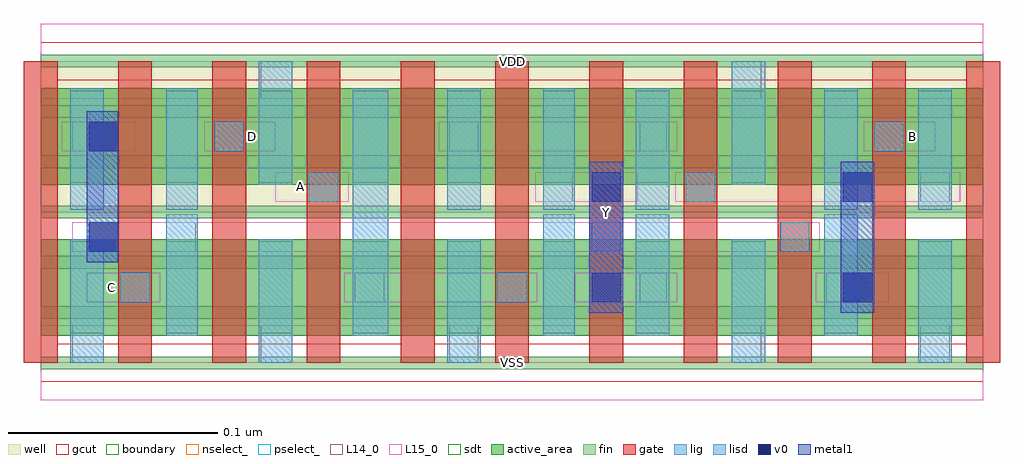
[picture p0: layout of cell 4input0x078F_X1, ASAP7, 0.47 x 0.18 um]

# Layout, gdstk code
import gdstk
lib = gdstk.Library(unit=1e-6, precision=1e-09)
def R(c, l, rs):  # rectangles x0, y0, x1, y1
    for r in rs: c.add(gdstk.rectangle(r[:2], r[2:], *l))
def A(c, l, x, y, w, h, nx, ny, dx, dy):  # array of equal rectangles
    R(c, l, [(x+i*dx, y+j*dy, x+i*dx+w, y+j*dy+h) for i in range(nx) for j in range(ny)])
def P(c, l, *ps):  # polygons
    for p in ps: c.add(gdstk.Polygon(p, *l))
well = (1, 0)
fin = (2, 0)
gate = (7, 0)
gcut = (10, 0)
active_area = (11, 0)
nselect_ = (12, 0)
pselect_ = (13, 0)
L14_0 = (14, 0)
L15_0 = (15, 0)
lig = (16, 0)
lisd = (17, 0)
v0 = (18, 0)
metal1 = (19, 0)
sdt = (88, 0)
boundary = (100, 0)

c_4input0x078f_x1 = lib.new_cell('4input0x078F_X1')
R(c_4input0x078f_x1, well, [(0,0.072,0.45,0.144)])
A(c_4input0x078f_x1, fin, 0, -0.003, 0.45, 0.006, 1, 7, 0, 0.024)
A(c_4input0x078f_x1, gate, -0.008, 0, 0.016, 0.144, 11, 1, 0.045, 0)
P(c_4input0x078f_x1, gcut, [(0,-0.009),(0,0),(-0.008,0),(-0.008,0.135),(0.008,0.135),(0.008,0.009),(0.172,0.009),(0.172,0.135),(0.188,0.135),(0.188,0.009),(0.442,0.009),(0.442,0.135),(-0.008,0.135),(-0.008,0.144),(0,0.144),(0,0.153),(0.45,0.153),(0.45,0.144),(0.458,0.144),(0.458,0),(0.45,0),(0.45,-0.009)])
R(c_4input0x078f_x1, active_area, [(0,0.013,0.45,0.059), (0,0.085,0.45,0.131)])
R(c_4input0x078f_x1, nselect_, [(0,0,0.45,0.072)])
R(c_4input0x078f_x1, pselect_, [(0,0.072,0.45,0.144)])
R(c_4input0x078f_x1, L14_0, [(0.015,0,0.03,0.018), (0.105,0,0.12,0.018), (0.195,0,0.209,0.018), (0.33,0,0.344,0.018), (0.42,0,0.434,0.018), (0.038,0.029,0.052,0.043), (0.15,0.029,0.164,0.043), (0.218,0.029,0.232,0.043), (0.286,0.029,0.299,0.043), (0.375,0.029,0.389,0.043), (0.06,0.053,0.074,0.067), (0.263,0.053,0.277,0.067), (0.353,0.053,0.367,0.067), (0.128,0.077,0.142,0.091), (0.24,0.077,0.254,0.091), (0.308,0.077,0.322,0.091), (0.42,0.077,0.434,0.091), (0.015,0.101,0.03,0.115), (0.083,0.101,0.097,0.115), (0.195,0.101,0.209,0.115), (0.286,0.101,0.299,0.115), (0.398,0.101,0.412,0.115), (0.105,0.126,0.12,0.144), (0.33,0.126,0.344,0.144)])
R(c_4input0x078f_x1, L15_0, [(0,-0.018,0.45,0.018), (0.022,0.029,0.057,0.043), (0.145,0.029,0.237,0.043), (0.255,0.029,0.304,0.043), (0.37,0.029,0.405,0.043), (0.015,0.053,0.372,0.067), (0.112,0.077,0.147,0.091), (0.236,0.077,0.285,0.091), (0.303,0.077,0.439,0.091), (0.01,0.101,0.045,0.115), (0.078,0.101,0.112,0.115), (0.19,0.101,0.304,0.115), (0.393,0.101,0.427,0.115), (0,0.126,0.45,0.162)])
R(c_4input0x078f_x1, lig, [(0.038,0.029,0.052,0.043), (0.218,0.029,0.232,0.043), (0.263,0.053,0.277,0.067), (0.353,0.053,0.367,0.067), (0.128,0.077,0.142,0.091), (0.308,0.077,0.322,0.091), (0.083,0.101,0.097,0.115), (0.398,0.101,0.412,0.115)])
A(c_4input0x078f_x1, lisd, 0.014, 0, 0.016, 0.059, 3, 1, 0.09, 0)
A(c_4input0x078f_x1, lisd, 0.194, 0.073, 0.016, 0.058, 3, 1, 0.09, 0)
R(c_4input0x078f_x1, lisd, [(0.33,0,0.346,0.059), (0.419,0,0.435,0.059), (0.06,0.013,0.075,0.071), (0.149,0.013,0.166,0.131), (0.24,0.013,0.255,0.071), (0.284,0.013,0.3,0.071), (0.374,0.013,0.39,0.071), (0.014,0.073,0.03,0.131), (0.06,0.073,0.075,0.131), (0.24,0.073,0.255,0.131), (0.419,0.073,0.435,0.131), (0.104,0.085,0.12,0.144), (0.33,0.085,0.346,0.144)])
R(c_4input0x078f_x1, v0, [(0.263,0.029,0.277,0.043), (0.383,0.029,0.397,0.043), (0.023,0.053,0.037,0.067), (0.263,0.077,0.277,0.091), (0.383,0.077,0.397,0.091), (0.023,0.101,0.037,0.115)])
R(c_4input0x078f_x1, metal1, [(0.262,0.024,0.278,0.096), (0.382,0.024,0.398,0.096), (0.022,0.048,0.037,0.12)])
A(c_4input0x078f_x1, sdt, 0.014, 0.014, 0.016, 0.044, 4, 2, 0.09, 0.072)
R(c_4input0x078f_x1, sdt, [(0.06,0.014,0.075,0.058), (0.149,0.014,0.166,0.058), (0.24,0.014,0.255,0.058), (0.33,0.014,0.346,0.058), (0.374,0.014,0.39,0.058), (0.419,0.014,0.435,0.058), (0.06,0.086,0.075,0.13), (0.149,0.086,0.166,0.13), (0.24,0.086,0.255,0.13), (0.33,0.086,0.346,0.13), (0.374,0.086,0.39,0.13), (0.419,0.086,0.435,0.13)])
R(c_4input0x078f_x1, boundary, [(0,0,0.45,0.144)])
c_4input0x078f_x1.add(gdstk.Label('C', (0.034,0.036), layer=15, texttype=251))
c_4input0x078f_x1.add(gdstk.Label('VSS', (0.225,0), layer=15, texttype=251))
c_4input0x078f_x1.add(gdstk.Label('VDD', (0.225,0.144), layer=15, texttype=251))
c_4input0x078f_x1.add(gdstk.Label('VSS', (0.225,0), layer=15, texttype=251))
c_4input0x078f_x1.add(gdstk.Label('VDD', (0.225,0.144), layer=15, texttype=251))
c_4input0x078f_x1.add(gdstk.Label('B', (0.416,0.108), layer=15, texttype=251))
c_4input0x078f_x1.add(gdstk.Label('VSS', (0.225,0), layer=15, texttype=251))
c_4input0x078f_x1.add(gdstk.Label('VDD', (0.225,0.144), layer=15, texttype=251))
c_4input0x078f_x1.add(gdstk.Label('A', (0.124,0.084), layer=15, texttype=251))
c_4input0x078f_x1.add(gdstk.Label('VSS', (0.225,0), layer=15, texttype=251))
c_4input0x078f_x1.add(gdstk.Label('VDD', (0.225,0.144), layer=15, texttype=251))
c_4input0x078f_x1.add(gdstk.Label('D', (0.101,0.108), layer=15, texttype=251))
c_4input0x078f_x1.add(gdstk.Label('VSS', (0.225,0), layer=15, texttype=251))
c_4input0x078f_x1.add(gdstk.Label('VDD', (0.225,0.144), layer=15, texttype=251))
c_4input0x078f_x1.add(gdstk.Label('VSS', (0.225,0), layer=3, texttype=251))
c_4input0x078f_x1.add(gdstk.Label('VSS', (0.225,0), layer=3, texttype=251))
c_4input0x078f_x1.add(gdstk.Label('VSS', (0.225,0), layer=3, texttype=251))
c_4input0x078f_x1.add(gdstk.Label('VSS', (0.225,0), layer=3, texttype=251))
c_4input0x078f_x1.add(gdstk.Label('VSS', (0.225,0), layer=3, texttype=251))
c_4input0x078f_x1.add(gdstk.Label('VDD', (0.225,0.144), layer=1, texttype=251))
c_4input0x078f_x1.add(gdstk.Label('VDD', (0.225,0.144), layer=1, texttype=251))
c_4input0x078f_x1.add(gdstk.Label('VDD', (0.225,0.144), layer=1, texttype=251))
c_4input0x078f_x1.add(gdstk.Label('VDD', (0.225,0.144), layer=1, texttype=251))
c_4input0x078f_x1.add(gdstk.Label('VDD', (0.225,0.144), layer=1, texttype=251))
c_4input0x078f_x1.add(gdstk.Label('Y', (0.27,0.072), layer=19, texttype=251))

lib.write_gds('4input0x078F_X1.gds')
